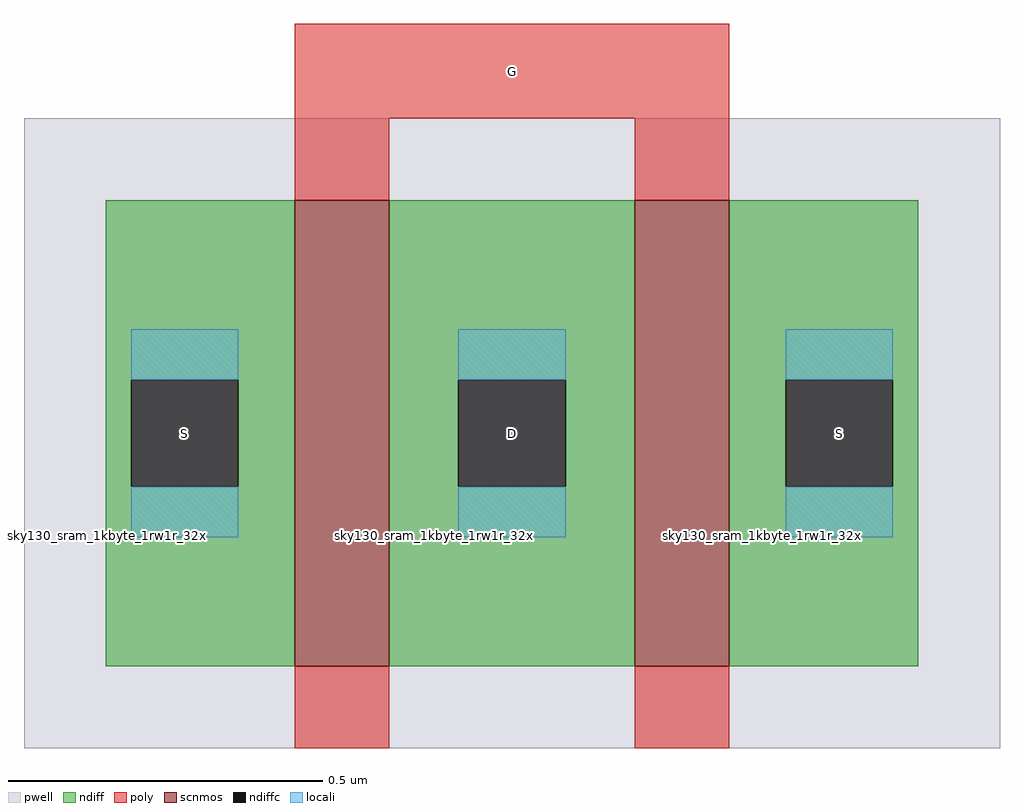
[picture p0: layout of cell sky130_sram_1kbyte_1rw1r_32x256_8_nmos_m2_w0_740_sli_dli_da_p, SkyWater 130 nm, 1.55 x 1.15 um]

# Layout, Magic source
magic
tech sky130A
magscale 1 2
<< pwell >>
rect -26 -26 284 174
<< scnmos >>
rect 60 0 90 148
rect 168 0 198 148
<< ndiff >>
rect 0 91 60 148
rect 0 57 8 91
rect 42 57 60 91
rect 0 0 60 57
rect 90 91 168 148
rect 90 57 112 91
rect 146 57 168 91
rect 90 0 168 57
rect 198 91 258 148
rect 198 57 216 91
rect 250 57 258 91
rect 198 0 258 57
<< ndiffc >>
rect 8 57 42 91
rect 112 57 146 91
rect 216 57 250 91
<< poly >>
rect 60 174 198 204
rect 60 148 90 174
rect 168 148 198 174
rect 60 -26 90 0
rect 168 -26 198 0
<< locali >>
rect 8 91 42 107
rect 8 41 42 57
rect 112 91 146 107
rect 112 41 146 57
rect 216 91 250 107
rect 216 41 250 57
use sky130_sram_1kbyte_1rw1r_32x256_8_contact_11  sky130_sram_1kbyte_1rw1r_32x256_8_contact_11_0
transform 1 0 208 0 1 41
box 0 0 1 1
use sky130_sram_1kbyte_1rw1r_32x256_8_contact_11  sky130_sram_1kbyte_1rw1r_32x256_8_contact_11_1
transform 1 0 104 0 1 41
box 0 0 1 1
use sky130_sram_1kbyte_1rw1r_32x256_8_contact_11  sky130_sram_1kbyte_1rw1r_32x256_8_contact_11_2
transform 1 0 0 0 1 41
box 0 0 1 1
<< labels >>
rlabel locali s 233 74 233 74 4 S
port 1 nsew
rlabel locali s 25 74 25 74 4 S
port 1 nsew
rlabel locali s 129 74 129 74 4 D
port 2 nsew
rlabel poly s 129 189 129 189 4 G
port 3 nsew
<< properties >>
string FIXED_BBOX -25 -26 283 204
string GDS_FILE $PDKPATH/libs.ref/sky130_sram_macros/gds/sky130_sram_1kbyte_1rw1r_32x256_8.gds
string GDS_END 5496
string GDS_START 4454
<< end >>
